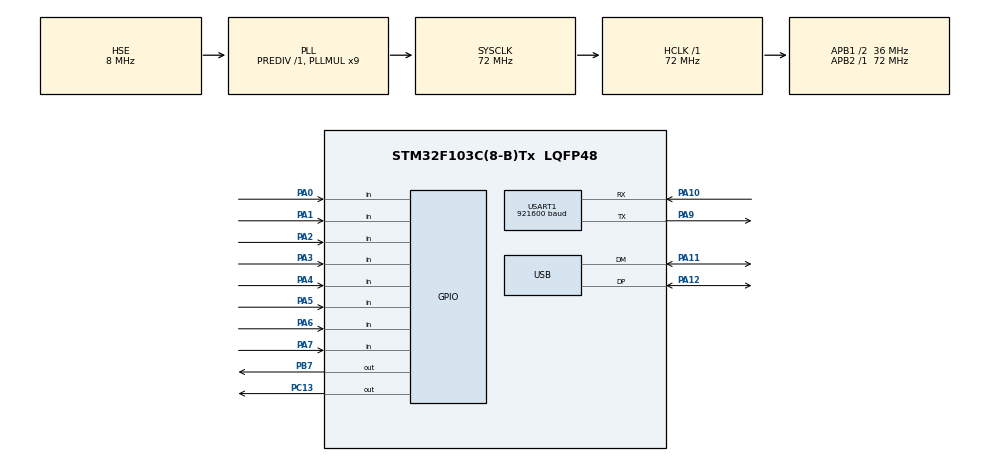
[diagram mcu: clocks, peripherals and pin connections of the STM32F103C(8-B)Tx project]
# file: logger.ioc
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IWDG.Prescaler=IWDG_PRESCALER_32
Mcu.Family=STM32F1
Mcu.Name=STM32F103C(8-B)Tx
Mcu.Package=LQFP48
NVIC.PriorityGroup=NVIC_PRIORITYGROUP_4
NVIC.TIM3_IRQn=true\:0\:0\:false\:false\:true
NVIC.USB_LP_CAN1_RX0_IRQn=true\:0\:0\:false\:false\:true
PA0-WKUP.Signal=GPIO_Input
PA1.Signal=GPIO_Input
PA10.Mode=Asynchronous
PA10.Signal=USART1_RX
PA11.Mode=Device
PA11.Signal=USB_DM
PA12.Mode=Device
PA12.Signal=USB_DP
PA13.Mode=Serial_Wire
PA13.Signal=SYS_JTMS-SWDIO
PA14.Mode=Serial_Wire
PA14.Signal=SYS_JTCK-SWCLK
PA2.Signal=GPIO_Input
PA3.Signal=GPIO_Input
PA4.Signal=GPIO_Input
PA5.Signal=GPIO_Input
PA6.Signal=GPIO_Input
PA7.Signal=GPIO_Input
PA9.Mode=Asynchronous
PA9.Signal=USART1_TX
PB7.Signal=GPIO_Output
PC13-TAMPER-RTC.Signal=GPIO_Output
PD0-OSC_IN.Mode=HSE-External-Oscillator
PD0-OSC_IN.Signal=RCC_OSC_IN
PD1-OSC_OUT.Mode=HSE-External-Oscillator
PD1-OSC_OUT.Signal=RCC_OSC_OUT
ProjectManager.HeapSize=0x200
ProjectManager.StackSize=0x400
ProjectManager.TargetToolchain=SW4STM32
RCC.AHBFreq_Value=72000000
RCC.APB1CLKDivider=RCC_HCLK_DIV2
RCC.APB1Freq_Value=36000000
RCC.APB1TimFreq_Value=72000000
RCC.APB2Freq_Value=72000000
RCC.APB2TimFreq_Value=72000000
RCC.HCLKFreq_Value=72000000
RCC.PLLMUL=RCC_PLL_MUL9
RCC.SYSCLKFreq_VALUE=72000000
RCC.SYSCLKSource=RCC_SYSCLKSOURCE_PLLCLK
RCC.USBFreq_Value=48000000
RCC.USBPrescaler=RCC_USBCLKSOURCE_PLL_DIV1_5
TIM3.ClockDivision=TIM_CLOCKDIVISION_DIV2
TIM3.Period=2
TIM3.Prescaler=48000
USART1.BaudRate=921600
USART1.VirtualMode=VM_ASYNC
USB_DEVICE.CLASS_NAME_FS=CDC
USB_DEVICE.VirtualMode=Cdc
USB_DEVICE.VirtualModeFS=Cdc_FS
VP_IWDG_VS_IWDG.Mode=IWDG_Activate
VP_TIM3_VS_ClockSourceINT.Mode=Internal
VP_USB_DEVICE_VS_USB_DEVICE_CDC_FS.Mode=CDC_FS
board=logger

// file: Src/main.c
/**
  ******************************************************************************
  * File Name          : main.c
  * Description        : Main program body
  ******************************************************************************
  *
  * Copyright (c) 2017 STMicroelectronics International N.V.
  * All rights reserved.
  *
  * Redistribution and use in source and binary forms, with or without
  * modification, are permitted, provided that the following conditions are met:
  *
  * 1. Redistribution of source code must retain the above copyright notice,
  *    this list of conditions and the following disclaimer.
  * 2. Redistributions in binary form must reproduce the above copyright notice,
  *    this list of conditions and the following disclaimer in the documentation
  *    and/or other materials provided with the distribution.
  * 3. Neither the name of STMicroelectronics nor the names of other
  *    contributors to this software may be used to endorse or promote products
  *    derived from this software without specific written permission.
  * 4. This software, including modifications and/or derivative works of this
  *    software, must execute solely and exclusively on microcontroller or
  *    microprocessor devices manufactured by or for STMicroelectronics.
  * 5. Redistribution and use of this software other than as permitted under
  *    this license is void and will automatically terminate your rights under
  *    this license.
  *
  * THIS SOFTWARE IS PROVIDED BY STMICROELECTRONICS AND CONTRIBUTORS "AS IS"
  * AND ANY EXPRESS, IMPLIED OR STATUTORY WARRANTIES, INCLUDING, BUT NOT
  * LIMITED TO, THE IMPLIED WARRANTIES OF MERCHANTABILITY, FITNESS FOR A
  * PARTICULAR PURPOSE AND NON-INFRINGEMENT OF THIRD PARTY INTELLECTUAL PROPERTY
  * RIGHTS ARE DISCLAIMED TO THE FULLEST EXTENT PERMITTED BY LAW. IN NO EVENT
  * SHALL STMICROELECTRONICS OR CONTRIBUTORS BE LIABLE FOR ANY DIRECT, INDIRECT,
  * INCIDENTAL, SPECIAL, EXEMPLARY, OR CONSEQUENTIAL DAMAGES (INCLUDING, BUT NOT
  * LIMITED TO, PROCUREMENT OF SUBSTITUTE GOODS OR SERVICES; LOSS OF USE, DATA,
  * OR PROFITS; OR BUSINESS INTERRUPTION) HOWEVER CAUSED AND ON ANY THEORY OF
  * LIABILITY, WHETHER IN CONTRACT, STRICT LIABILITY, OR TORT (INCLUDING
  * NEGLIGENCE OR OTHERWISE) ARISING IN ANY WAY OUT OF THE USE OF THIS SOFTWARE,
  * EVEN IF ADVISED OF THE POSSIBILITY OF SUCH DAMAGE.
  *
  ******************************************************************************
  */
#include "main.h"
#include "stm32f1xx_hal.h"
#include "iwdg.h"
#include "tim.h"
#include "usart.h"
#include "usb_device.h"
#include "gpio.h"

/* USER CODE BEGIN Includes */
#include "xprintf.h"
#include "board.h"
#include "usbd_cdc_if.h"
/* USER CODE END Includes */

/* USER CODE BEGIN PV */
/* Private variables ---------------------------------------------------------*/

/* USER CODE END PV */

void SystemClock_Config(void);
void Error_Handler(void);

/* USER CODE BEGIN PFP */
/* Private function prototypes -----------------------------------------------*/

/* USER CODE END PFP */

/* USER CODE BEGIN 0 */

typedef enum
{
  USART_CONSOLE,
  USB_CONSOLE,
} console_type_e;

void printfSampleRate(void)
{
  switch (getActialFreqVal())
    {
    case _10kHz_VAL: mprintfVCP("sample rate 10kHz\r\n"); break;
    case _5kHz_VAL: mprintfVCP("sample rate 5kHz\r\n"); break;
    case _1kHz_VAL: mprintfVCP("sample rate 1kHz\r\n"); break;
    case _500Hz_VAL: mprintfVCP("sample rate 500Hz\r\n"); break;
    case _250Hz_VAL: mprintfVCP("sample rate 250Hz\r\n"); break;
    case _150Hz_VAL: mprintfVCP("sample rate 150Hz\r\n"); break;
    case _50Hz_VAL: mprintfVCP("sample rate 50Hz\r\n"); break;
    case _10Hz_VAL: mprintfVCP("sample rate 10Hz\r\n"); break;
    case _5Hz_VAL: mprintfVCP("sample rate 5Hz\r\n"); break;
    case _500mHz_VAL: mprintfVCP("sample rate 500mHz\r\n"); break;
    case _250mHz_VAL: mprintfVCP("sample rate 250mHz\r\n"); break;
    case tim3Freq_num: break;
    }
}
static void printfHelp(void)
{
  mprintfVCP("h: this help\r\n\r\n");
  mprintfVCP("s: acquisition start\r\n");
  mprintfVCP("t: acquisition stop\r\n");
  mprintfVCP("0: show sample rate\r\n");
  mprintfVCP("j: set sample rate = 10kHz\r\n");
  mprintfVCP("k: set sample rate = 5kHz\r\n");
  mprintfVCP("l: set sample rate = 1kHz\r\n");
  mprintfVCP("1: set sample rate = 500Hz\r\n");
  mprintfVCP("2: set sample rate = 250Hz\r\n");
  mprintfVCP("3: set sample rate = 150Hz\r\n");
  mprintfVCP("4: set sample rate = 50Hz\r\n");
  mprintfVCP("5: set sample rate = 10Hz\r\n");
  mprintfVCP("6: set sample rate = 5Hz\r\n");
  mprintfVCP("7: set sample rate = 500mHz\r\n");
  mprintfVCP("8: set sample rate = 250mHz\r\n");
  mprintfVCP("r: board restart\r\n");
  mprintfVCP("g: get uptime\r\n");
  mprintfVCP("b: read portB state\r\n");
  mprintfVCP("p: console char test\r\n");
  mprintfVCP("i: show info\r\n");
  mprintfVCP("e: error handler test (!!!)\r\n");
  mprintfVCP("a: stm32 asser test (!!!)\r\n");
  mprintfVCP("w: iwdg test (!!!)\r\n");
  mprintfVCP("m: user assert test (!!!)\r\n");
}

/*
fw changelog:
1.0 - init version
1.1 - tim3 added, vcp open, close callbacks added
1.2 - sampling/2
*/
static void printfInfoHeader(void)
{
  mprintfVCP("logger_01, fw. ver. 1.3, SN:LG800A1\n");
  printfSampleRate();
}

static uint32_t whileCnt = 0;
volatile uint8_t startFlag = 0;

uint8_t getStartFlagState(void)
{
  return startFlag;
}

void setStartFlagState(uint8_t nState)
{
  startFlag = nState;
}

volatile static uint8_t InputsStates = 0;
volatile static uint8_t InputsStatesNegation = 0;
volatile static uint8_t lastInputsStates = 0;

static uint8_t getPortAState(void)
{
  return (0x00FF & GPIOA->IDR);
}

static void userConsoleHandler(uint8_t recKey, console_type_e consTyp)
{
  switch (recKey)
    {
    case 'h':
    case 'H':
      printfHelp();
      break;
    case 's':
    case 'S':
      if (getStartFlagState() == 0)
        {
          setStartFlagState(1);
          //mprintfVCP("---- START ----\r\n");
        }
      break;
    case 't':
    case 'T':
      if (getStartFlagState() == 1)
        {
          setStartFlagState(0);
          whileCnt = 0;
          //mprintfVCP("---- STOP ----\r\n");
          setLedState(1);
        }
      break;
    case 'e':
    case 'E':
      Error_Handler();
      break;
    case '0':
      printfSampleRate();
      break;
    case 'j':
    case 'J':
      tim3Init(_10kHz_VAL);
      mprintfVCP("sample rate 10kHz\r\n");
      break;
    case 'k':
    case 'K':
      tim3Init(_5kHz_VAL);
      mprintfVCP("sample rate 5kHz\r\n");
      break;
    case 'l':
    case 'L':
      tim3Init(_1kHz_VAL);
      mprintfVCP("sample rate 1kHz\r\n");
      break;
    case '1':
      tim3Init(_500Hz_VAL);
      mprintfVCP("sample rate 500Hz\r\n");
      break;
    case '2':
      tim3Init(_250Hz_VAL);
      mprintfVCP("sample rate 250Hz\r\n");
      break;
    case '3':
      tim3Init(_150Hz_VAL);
      mprintfVCP("sample rate 150Hz\r\n");
      break;
    case '4':
      tim3Init(_50Hz_VAL);
      mprintfVCP("sample rate 50Hz\r\n");
      break;
    case '5':
      tim3Init(_10Hz_VAL);
      mprintfVCP("sample rate 10Hz\r\n");
      break;
    case '6':
      tim3Init(_5Hz_VAL);
      mprintfVCP("sample rate 5Hz\r\n");
      break;
    case '7':
      tim3Init(_500mHz_VAL);
      mprintfVCP("sample rate 500mHz\r\n");
      break;
    case '8':
      tim3Init(_250mHz_VAL);
      mprintfVCP("sample rate 250mHz\r\n");
      break;
    case 'r':
    case 'R':
      boardRestart();
      break;
    case 'g':
    case 'G':
      mprintfVCP("getUptime() = %ds\n", (uint32_t)(NS2S(getUptime())));
      break;
    case 'b':
    case 'B':
      mprintfVCP("portAState = 0x%x\n", getPortAState());
      break;
    case 'w':
    case 'W':
      mprintfVCP("iwdg test...\n");
      while (1);
      break;
    case 'a':
    case 'A':
      assert_failed((uint8_t*)"stm32AssertTest.c", 123);
      break;
    case 'm':
    case 'M':
      massert(0);
      break;
    case 'p':
    case 'P':
      mprintfVCP("12345!@#$dfg<>:^&*abcABC - console test!?\r\n");
      break;
    case 'i':
    case 'I':
      printfInfoHeader();
      break;
    case ':':
      mprintfVCP("---------------------------\n");
      mprintfVCP("getUptime() = %ds\n", (uint32_t)(NS2S(getUptime())));
      mprintfVCP("whileCnt = %d\n", whileCnt);
      vcpStats();
      mprintfVCP("---------------------------\n");
      break;
    default:
      mprintf("char = %c\n", recKey);
      break;
    }
}

uint32_t actualUpTime = 0;
uint32_t consoleTimeUpdateTimestamp = 0;
uint32_t oneSecondUpdateTimeStamp = 0;
#define BLINKLED_PRESCALLER 5000
#define CONSOLE_UPDATE_TIMESTAMP_VAL 30 // seconds
#define ONE_SECOND_UPDATE_TIMESTAMP_VAL 1 // second
#define _USER_APP_RX_DATA_SIZE 64
#define _USER_APP_TX_DATA_SIZE 64
char ReceivedData[_USER_APP_RX_DATA_SIZE];
uint8_t ReceivedDataFlag = 0;
uint8_t recDbgChar;
char vcpDataBuff[_USER_APP_TX_DATA_SIZE] = {0};

void readPortBStateAndSendViaVcp(void)
{
  InputsStates = getPortAState();
  InputsStatesNegation = 0x000000FF & ~InputsStates;
  xsprintf((char*)vcpDataBuff, "D:%02x%02x\r\n", InputsStates, InputsStatesNegation);
  printfVCP(vcpDataBuff);

  if (lastInputsStates != InputsStates )
    {
      mprintf(C_GREEN "NEW = 0x%02x | LAST = 0x%02x\n", InputsStates, lastInputsStates);
      lastInputsStates = InputsStates;
    }
}

#define NVIC_VectTab_FLASH           ((uint32_t)0x08000000)
static void NVIC_SetVectorTable(uint32_t NVIC_VectTab, uint32_t Offset)
{
  SCB->VTOR = NVIC_VectTab | (Offset & (uint32_t)0x1FFFFF80);
}

/* USER CODE END 0 */

int main(void)
{

  /* USER CODE BEGIN 1 */
  NVIC_SetVectorTable(NVIC_VectTab_FLASH, 0x08002800);
  /* USER CODE END 1 */

  /* MCU Configuration----------------------------------------------------------*/

  /* Reset of all peripherals, Initializes the Flash interface and the Systick. */
  HAL_Init();

  /* Configure the system clock */
  SystemClock_Config();

  /* Initialize all configured peripherals */
  MX_GPIO_Init();
  MX_TIM3_Init();
  MX_IWDG_Init();

  usbDisconnect();
  delay_ms(500);
  MX_USB_DEVICE_Init();
  MX_USART1_UART_Init();

  /* USER CODE BEGIN 2 */
  timerStartIt();
  showBootInfo();
  mprintf ("\n\n\n\nHAL_RCC_GetSysClockFreq = %d MHz\n", HAL_RCC_GetSysClockFreq() / 1000000);
  setLedState(1);
  iwdgStart();
  /* USER CODE END 2 */

  /* Infinite loop */
  while (1)
    {

      /* USER CODE BEGIN 3 */
      if (getStartFlagState())
        {
          if (whileCnt % BLINKLED_PRESCALLER == 0)
            {
              blinkLed();
            }
        }

      actualUpTime = NS2S(getUptime());

      if (isUsartDataAvailable())
        {
          recDbgChar = receiveConsoleChar();
          if (recDbgChar)
            {
              userConsoleHandler(recDbgChar, USART_CONSOLE);
            }
        }

      if ((actualUpTime - oneSecondUpdateTimeStamp) >= ONE_SECOND_UPDATE_TIMESTAMP_VAL)
        {
          oneSecondUpdateTimeStamp = actualUpTime;
          usbVCPConnectionHandler();
        }

      if ((actualUpTime - consoleTimeUpdateTimestamp) >= CONSOLE_UPDATE_TIMESTAMP_VAL)
        {
          consoleTimeUpdateTimestamp = actualUpTime;
          mprintf("[main.c] %8d s passed...\n", consoleTimeUpdateTimestamp);
        }

      if (ReceivedDataFlag)
        {
          userConsoleHandler(ReceivedData[0], USB_CONSOLE);
          ReceivedDataFlag = 0;
        }

      if (whileCnt < 0xFFFFFFFF)
        whileCnt++;
      else
        {
          whileCnt = 0;
          mprintf(C_RED ">>>>>>>>>>>>> whileCnt = 0\n"C_NORMAL);
        }

      iwdgFeed();
      /* USER CODE END 3 */

    }
}
/** System Clock Configuration
*/
void SystemClock_Config(void)
{

  RCC_OscInitTypeDef RCC_OscInitStruct;
  RCC_ClkInitTypeDef RCC_ClkInitStruct;
  RCC_PeriphCLKInitTypeDef PeriphClkInit;

  /**Initializes the CPU, AHB and APB busses clocks
  */
  RCC_OscInitStruct.OscillatorType = RCC_OSCILLATORTYPE_LSI | RCC_OSCILLATORTYPE_HSE;
  RCC_OscInitStruct.HSEState = RCC_HSE_ON;
  RCC_OscInitStruct.HSEPredivValue = RCC_HSE_PREDIV_DIV1;
  RCC_OscInitStruct.HSIState = RCC_HSI_ON;
  RCC_OscInitStruct.LSIState = RCC_LSI_ON;
  RCC_OscInitStruct.PLL.PLLState = RCC_PLL_ON;
  RCC_OscInitStruct.PLL.PLLSource = RCC_PLLSOURCE_HSE;
  RCC_OscInitStruct.PLL.PLLMUL = RCC_PLL_MUL9;
  if (HAL_RCC_OscConfig(&RCC_OscInitStruct) != HAL_OK)
    {
      Error_Handler();
    }

  /**Initializes the CPU, AHB and APB busses clocks
  */
  RCC_ClkInitStruct.ClockType = RCC_CLOCKTYPE_HCLK | RCC_CLOCKTYPE_SYSCLK
                                | RCC_CLOCKTYPE_PCLK1 | RCC_CLOCKTYPE_PCLK2;
  RCC_ClkInitStruct.SYSCLKSource = RCC_SYSCLKSOURCE_PLLCLK;
  RCC_ClkInitStruct.AHBCLKDivider = RCC_SYSCLK_DIV1;
  RCC_ClkInitStruct.APB1CLKDivider = RCC_HCLK_DIV2;
  RCC_ClkInitStruct.APB2CLKDivider = RCC_HCLK_DIV1;

  if (HAL_RCC_ClockConfig(&RCC_ClkInitStruct, FLASH_LATENCY_2) != HAL_OK)
    {
      Error_Handler();
    }

  PeriphClkInit.PeriphClockSelection = RCC_PERIPHCLK_USB;
  PeriphClkInit.UsbClockSelection = RCC_USBCLKSOURCE_PLL_DIV1_5;
  if (HAL_RCCEx_PeriphCLKConfig(&PeriphClkInit) != HAL_OK)
    {
      Error_Handler();
    }

  /**Configure the Systick interrupt time
  */
  HAL_SYSTICK_Config(HAL_RCC_GetHCLKFreq() / 1000);

  /**Configure the Systick
  */
  HAL_SYSTICK_CLKSourceConfig(SYSTICK_CLKSOURCE_HCLK);

  /* SysTick_IRQn interrupt configuration */
  HAL_NVIC_SetPriority(SysTick_IRQn, 0, 0);
}

void Error_Handler(void)
{
  /* USER CODE BEGIN Error_Handler */
  /* User can add his own implementation to report the HAL error return state */
  mprintfVCP("------------------------\n");
  mprintfVCP("------Error_Handler-----\n");
  mprintfVCP("------------------------\n");
  while (1)
    {
    }
  /* USER CODE END Error_Handler */
}

#ifdef USE_FULL_ASSERT

/**
   * @brief Reports the name of the source file and the source line number
   * where the assert_param error has occurred.
   * @param file: pointer to the source file name
   * @param line: assert_param error line source number
   * @retval None
   */
void assert_failed(uint8_t* file, uint32_t line)
{
  /* USER CODE BEGIN 6 */
  /* User can add his own implementation to report the file name and line number,
  ex: printf("Wrong parameters value: file % s on line % d\r\n", file, line) */

  mprintf("A\n");
  mprintf("S\n");
  mprintf("S\n");
  mprintf("E\n");
  mprintf("R\n");
  mprintf("T\n");
  mprintf("\n");
  mprintf("F\n");
  mprintf("A\n");
  mprintf("I\n");
  mprintf("L\n");
  mprintf("E\n");
  mprintf("D\n");

  mprintfVCP("stm32 assert %s: %d\n", (char*)file, line);

  int s = 1;
  while (s);

  /* USER CODE END 6 */

}

#endif

/************************ (C) COPYRIGHT STMicroelectronics *****END OF FILE****/
